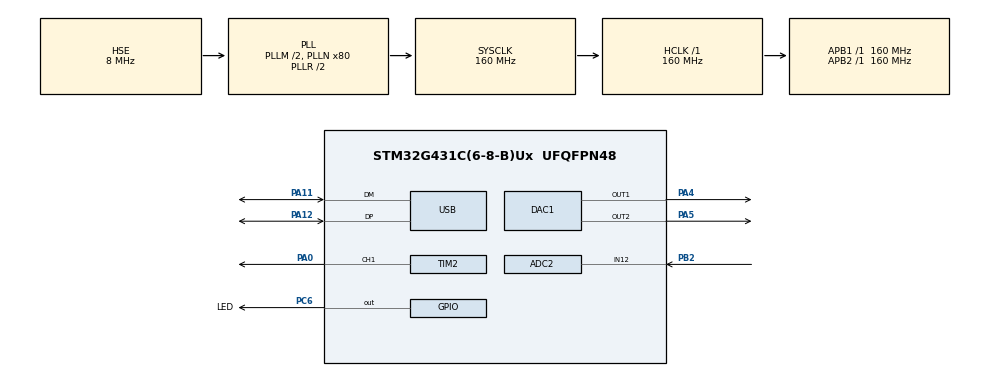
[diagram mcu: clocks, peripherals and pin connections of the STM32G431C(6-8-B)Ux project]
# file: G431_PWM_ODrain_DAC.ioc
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ADC2.Channel-0\#ChannelRegularConversion=ADC_CHANNEL_12
ADC2.ContinuousConvMode=ENABLE
ADC2.DMAContinuousRequests=ENABLE
ADC2.NbrOfConversionFlag=1
ADC2.OffsetNumber-0\#ChannelRegularConversion=ADC_OFFSET_NONE
ADC2.Rank-0\#ChannelRegularConversion=1
ADC2.SamplingTime-0\#ChannelRegularConversion=ADC_SAMPLETIME_640CYCLES_5
DAC1.DAC_Channel-DAC_OUT2=DAC_CHANNEL_2
DAC1.DAC_OutputBuffer-DAC_OUT1=DAC_OUTPUTBUFFER_DISABLE
DAC1.DAC_OutputBuffer-DAC_OUT2=DAC_OUTPUTBUFFER_DISABLE
DAC1.DAC_SampleAndHold-DAC_OUT2=DAC_SAMPLEANDHOLD_DISABLE
DAC1.DAC_Trigger_OUT1-DAC_OUT1=DAC_TRIGGER_T3_TRGO
DAC1.DAC_Trigger_OUT2-DAC_OUT2=DAC_TRIGGER_T3_TRGO
DAC1.WaveGeneration_OUT1-DAC_OUT1=DISABLE
DAC1.WaveGeneration_OUT2-DAC_OUT2=DISABLE
Dma.ADC2.0.Direction=DMA_PERIPH_TO_MEMORY
Dma.ADC2.0.EventEnable=DISABLE
Dma.ADC2.0.Instance=DMA1_Channel2
Dma.ADC2.0.MemDataAlignment=DMA_MDATAALIGN_HALFWORD
Dma.ADC2.0.MemInc=DMA_MINC_ENABLE
Dma.ADC2.0.Mode=DMA_CIRCULAR
Dma.ADC2.0.PeriphDataAlignment=DMA_PDATAALIGN_HALFWORD
Dma.ADC2.0.PeriphInc=DMA_PINC_DISABLE
Dma.ADC2.0.Polarity=HAL_DMAMUX_REQ_GEN_RISING
Dma.ADC2.0.Priority=DMA_PRIORITY_LOW
Dma.ADC2.0.RequestNumber=1
Dma.ADC2.0.SignalID=NONE
Dma.ADC2.0.SyncEnable=DISABLE
Dma.ADC2.0.SyncPolarity=HAL_DMAMUX_SYNC_NO_EVENT
Dma.ADC2.0.SyncRequestNumber=1
Dma.ADC2.0.SyncSignalID=NONE
Dma.DAC1_CH2.1.Direction=DMA_MEMORY_TO_PERIPH
Dma.DAC1_CH2.1.EventEnable=DISABLE
Dma.DAC1_CH2.1.Instance=DMA2_Channel1
Dma.DAC1_CH2.1.MemDataAlignment=DMA_MDATAALIGN_WORD
Dma.DAC1_CH2.1.MemInc=DMA_MINC_ENABLE
Dma.DAC1_CH2.1.Mode=DMA_NORMAL
Dma.DAC1_CH2.1.PeriphDataAlignment=DMA_PDATAALIGN_WORD
Dma.DAC1_CH2.1.PeriphInc=DMA_PINC_DISABLE
Dma.DAC1_CH2.1.Polarity=HAL_DMAMUX_REQ_GEN_RISING
Dma.DAC1_CH2.1.Priority=DMA_PRIORITY_HIGH
Dma.DAC1_CH2.1.RequestNumber=1
Dma.DAC1_CH2.1.SignalID=NONE
Dma.DAC1_CH2.1.SyncEnable=DISABLE
Dma.DAC1_CH2.1.SyncPolarity=HAL_DMAMUX_SYNC_NO_EVENT
Dma.DAC1_CH2.1.SyncRequestNumber=1
Dma.DAC1_CH2.1.SyncSignalID=NONE
Dma.Request0=ADC2
Dma.Request1=DAC1_CH2
FREERTOS.Tasks01=defaultTask,0,128,StartDefaultTask,Default,NULL,Dynamic,NULL,NULL
Mcu.Family=STM32G4
Mcu.Name=STM32G431C(6-8-B)Ux
Mcu.Package=UFQFPN48
NVIC.DMA1_Channel2_IRQn=true\:5\:0\:false\:false\:true\:true\:false\:true\:true
NVIC.DMA2_Channel1_IRQn=true\:0\:0\:false\:false\:true\:false\:false\:true\:true
NVIC.PriorityGroup=NVIC_PRIORITYGROUP_4
NVIC.TIM1_TRG_COM_TIM17_IRQn=true\:15\:0\:false\:false\:true\:false\:false\:true\:true
NVIC.TimeBase=TIM1_TRG_COM_TIM17_IRQn
NVIC.TimeBaseIP=TIM17
NVIC.USB_LP_IRQn=true\:5\:0\:false\:false\:true\:true\:false\:true\:true
PA0.GPIO_ModeDefaultPP=GPIO_MODE_AF_OD
PA0.GPIO_PuPd=GPIO_NOPULL
PA0.GPIO_Speed=GPIO_SPEED_FREQ_VERY_HIGH
PA0.Signal=S_TIM2_CH1
PA11.Mode=Device
PA11.Signal=USB_DM
PA12.Mode=Device
PA12.Signal=USB_DP
PA13.Mode=Serial_Wire
PA13.Signal=SYS_JTMS-SWDIO
PA14.Mode=Serial_Wire
PA14.Signal=SYS_JTCK-SWCLK
PA4.Signal=COMP_DAC11_group
PA5.Signal=COMP_DAC12_group
PB2.Mode=IN12-Single-Ended
PB2.Signal=ADC2_IN12
PC6.GPIO_Label=LED
PC6.GPIO_PuPd=GPIO_PULLDOWN
PC6.GPIO_Speed=GPIO_SPEED_FREQ_LOW
PC6.PinState=GPIO_PIN_RESET
PC6.Signal=GPIO_Output
PF0-OSC_IN.Mode=HSE-External-Oscillator
PF0-OSC_IN.Signal=RCC_OSC_IN
PF1-OSC_OUT.Mode=HSE-External-Oscillator
PF1-OSC_OUT.Signal=RCC_OSC_OUT
ProjectManager.HeapSize=0x100
ProjectManager.StackSize=0xA00
ProjectManager.TargetToolchain=MDK-ARM V5.32
RCC.ADC12Freq_Value=160000000
RCC.AHBFreq_Value=160000000
RCC.APB1Freq_Value=160000000
RCC.APB1TimFreq_Value=160000000
RCC.APB2Freq_Value=160000000
RCC.APB2TimFreq_Value=160000000
RCC.CK48CLockSelection=RCC_USBCLKSOURCE_HSI48
RCC.CortexFreq_Value=160000000
RCC.EXTERNAL_CLOCK_VALUE=12288000
RCC.HCLKFreq_Value=160000000
RCC.HSE_VALUE=8000000
RCC.HSI48_VALUE=48000000
RCC.HSI_VALUE=16000000
RCC.LSE_VALUE=32768
RCC.PLLM=RCC_PLLM_DIV2
RCC.PLLN=80
RCC.PLLSourceVirtual=RCC_PLLSOURCE_HSE
RCC.SYSCLKFreq_VALUE=160000000
RCC.SYSCLKSource=RCC_SYSCLKSOURCE_PLLCLK
RCC.USBFreq_Value=48000000
RCC.VCOOutputFreq_Value=320000000
SH.COMP_DAC11_group.0=DAC1_OUT1,DAC_OUT1
SH.COMP_DAC12_group.0=DAC1_OUT2,DAC_OUT2
SH.S_TIM2_CH1.0=TIM2_CH1,PWM Generation1 CH1
TIM2.AutoReloadPreload=TIM_AUTORELOAD_PRELOAD_ENABLE
TIM2.Channel-PWM\ Generation1\ CH1=TIM_CHANNEL_1
TIM2.PeriodNoDither=1
TIM2.Prescaler=1065
TIM3.AutoReloadPreload=TIM_AUTORELOAD_PRELOAD_ENABLE
TIM3.PeriodNoDither=1
TIM3.Prescaler=7
TIM3.TIM_MasterOutputTrigger=TIM_TRGO_UPDATE
USB_DEVICE.CLASS_NAME_FS=CDC
USB_DEVICE.VirtualMode=Cdc
USB_DEVICE.VirtualModeFS=Cdc_FS
VP_FREERTOS_VS_CMSIS_V1.Mode=CMSIS_V1
VP_SYS_VS_DBSignals.Mode=DisableDeadBatterySignals
VP_SYS_VS_tim17.Mode=TIM17
VP_TIM2_VS_ClockSourceINT.Mode=Internal
VP_TIM3_VS_ClockSourceINT.Mode=Internal
VP_USB_DEVICE_VS_USB_DEVICE_CDC_FS.Mode=CDC_FS
board=custom

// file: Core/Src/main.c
/* USER CODE BEGIN Header */
/**
  ******************************************************************************
  * @file           : main.c
  * @brief          : Main program body
  ******************************************************************************
  * @attention
  *
  * Copyright (c) 2025 STMicroelectronics.
  * All rights reserved.
  *
  * This software is licensed under terms that can be found in the LICENSE file
  * in the root directory of this software component.
  * If no LICENSE file comes with this software, it is provided AS-IS.
  *
  ******************************************************************************
  */
/* USER CODE END Header */
#include "main.h"
#include "cmsis_os.h"
#include "adc.h"
#include "dac.h"
#include "dma.h"
#include "tim.h"
#include "usb_device.h"
#include "gpio.h"

void SystemClock_Config(void);
void MX_FREERTOS_Init(void);

int main(void)
{

  /* MCU Configuration--------------------------------------------------------*/

  /* Reset of all peripherals, Initializes the Flash interface and the Systick. */
  HAL_Init();

  /* Configure the system clock */
  SystemClock_Config();

  /* Initialize all configured peripherals */
  MX_GPIO_Init();
  MX_DMA_Init();
  MX_USB_Device_Init();
  MX_ADC2_Init();
  MX_TIM2_Init();
  MX_DAC1_Init();
  MX_TIM3_Init();

  /* Call init function for freertos objects (in freertos.c) */
  MX_FREERTOS_Init();

  /* Start scheduler */
  osKernelStart();

  /* We should never get here as control is now taken by the scheduler */
  /* Infinite loop */
  while (1)
  {

  }
}

void SystemClock_Config(void)
{
  RCC_OscInitTypeDef RCC_OscInitStruct = {0};
  RCC_ClkInitTypeDef RCC_ClkInitStruct = {0};

  /** Configure the main internal regulator output voltage
  */
  HAL_PWREx_ControlVoltageScaling(PWR_REGULATOR_VOLTAGE_SCALE1_BOOST);

  /** Initializes the RCC Oscillators according to the specified parameters
  * in the RCC_OscInitTypeDef structure.
  */
  RCC_OscInitStruct.OscillatorType = RCC_OSCILLATORTYPE_HSI48|RCC_OSCILLATORTYPE_HSE;
  RCC_OscInitStruct.HSEState = RCC_HSE_ON;
  RCC_OscInitStruct.HSI48State = RCC_HSI48_ON;
  RCC_OscInitStruct.PLL.PLLState = RCC_PLL_ON;
  RCC_OscInitStruct.PLL.PLLSource = RCC_PLLSOURCE_HSE;
  RCC_OscInitStruct.PLL.PLLM = RCC_PLLM_DIV2;
  RCC_OscInitStruct.PLL.PLLN = 80;
  RCC_OscInitStruct.PLL.PLLP = RCC_PLLP_DIV2;
  RCC_OscInitStruct.PLL.PLLQ = RCC_PLLQ_DIV2;
  RCC_OscInitStruct.PLL.PLLR = RCC_PLLR_DIV2;
  if (HAL_RCC_OscConfig(&RCC_OscInitStruct) != HAL_OK)
  {
    Error_Handler();
  }

  /** Initializes the CPU, AHB and APB buses clocks
  */
  RCC_ClkInitStruct.ClockType = RCC_CLOCKTYPE_HCLK|RCC_CLOCKTYPE_SYSCLK
                              |RCC_CLOCKTYPE_PCLK1|RCC_CLOCKTYPE_PCLK2;
  RCC_ClkInitStruct.SYSCLKSource = RCC_SYSCLKSOURCE_PLLCLK;
  RCC_ClkInitStruct.AHBCLKDivider = RCC_SYSCLK_DIV1;
  RCC_ClkInitStruct.APB1CLKDivider = RCC_HCLK_DIV1;
  RCC_ClkInitStruct.APB2CLKDivider = RCC_HCLK_DIV1;

  if (HAL_RCC_ClockConfig(&RCC_ClkInitStruct, FLASH_LATENCY_4) != HAL_OK)
  {
    Error_Handler();
  }
}

void HAL_TIM_PeriodElapsedCallback(TIM_HandleTypeDef *htim)
{
  if (htim->Instance == TIM17) {
    HAL_IncTick();
  }
}

void Error_Handler(void)
{
  __disable_irq();
  while (1)
  {
  }
}

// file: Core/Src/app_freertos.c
/* USER CODE BEGIN Header */
/**
  ******************************************************************************
  * File Name          : app_freertos.c
  * Description        : Code for freertos applications
  ******************************************************************************
  * @attention
  *
  * Copyright (c) 2025 STMicroelectronics.
  * All rights reserved.
  *
  * This software is licensed under terms that can be found in the LICENSE file
  * in the root directory of this software component.
  * If no LICENSE file comes with this software, it is provided AS-IS.
  *
  ******************************************************************************
  */
/* USER CODE END Header */

#include "FreeRTOS.h"
#include "task.h"
#include "main.h"
#include "cmsis_os.h"

osThreadId defaultTaskHandle;

void StartDefaultTask(void const * argument);

void MX_FREERTOS_Init(void); /* (MISRA C 2004 rule 8.1) */

void MX_FREERTOS_Init(void) {

  /* Create the thread(s) */
  /* definition and creation of defaultTask */
  osThreadDef(defaultTask, StartDefaultTask, osPriorityNormal, 0, 128);
  defaultTaskHandle = osThreadCreate(osThread(defaultTask), NULL);

}

/* USER CODE BEGIN Header_StartDefaultTask */
/**
  * @brief  Function implementing the defaultTask thread.
  * @param  argument: Not used
  * @retval None
  */
//#define DAC1_BASE             0x40007400U
#define DAC_DHR12R1_OFFSET    0x08U

static inline void SetDAC1_CH1_Value(uint32_t Data)
{
    // 强制转换基地址为寄存器结构体指针
    DAC_TypeDef *DACx = (DAC_TypeDef *)DAC1_BASE;

    // 直接写入12位右对齐数据寄存器
    DACx->DHR12R1 = (Data & 0xFFF);  // 保留低12位
}

void Start_DAC_DMA_Optimized(DAC_HandleTypeDef *hdac, uint32_t Channel, uint32_t *pData, uint32_t Length)
{
    /* Check if the DAC handle is valid */
    if (hdac == NULL || pData == NULL || Length == 0)
    {
        return;
    }

    /* Get the DMA handle for the specified channel */
    DMA_HandleTypeDef *hdma = (Channel == DAC_CHANNEL_1) ? hdac->DMA_Handle1 : hdac->DMA_Handle2;

    /* Ensure the DMA is disabled before configuration */
    __HAL_DMA_DISABLE(hdma);

    /* Configure the DMA channel */
    hdma->Instance->CCR &= ~DMA_CCR_EN; /* Disable the DMA channel */

    /* Set the number of data items */
    hdma->Instance->CNDTR = Length;

    /* Set the peripheral address */
    if (Channel == DAC_CHANNEL_1)
    {
        hdma->Instance->CPAR = (uint32_t)&hdac->Instance->DHR12R1;
    }
    else
    {
        hdma->Instance->CPAR = (uint32_t)&hdac->Instance->DHR12R2;
    }

    /* Set the memory address */
    hdma->Instance->CMAR = (uint32_t)pData;

    /* Configure DMA for memory increment (NO circular mode) */
    hdma->Instance->CCR |= DMA_CCR_MINC;  // 仅保留内存递增
    hdma->Instance->CCR &= ~DMA_CCR_CIRC; // 确保关闭循环模式

    /* Set peripheral to memory direction */
    hdma->Instance->CCR |= DMA_CCR_DIR;

    /* Enable the DMA channel */
    __HAL_DMA_ENABLE(hdma);

    /* Enable the DAC DMA request */
    if (Channel == DAC_CHANNEL_1)
    {
        hdac->Instance->CR |= DAC_CR_DMAEN1;
    }
    else
    {
        hdac->Instance->CR |= DAC_CR_DMAEN2;
    }

    /* Enable DAC DMA underrun interrupt */
    if (Channel == DAC_CHANNEL_1)
    {
        __HAL_DAC_ENABLE_IT(hdac, DAC_IT_DMAUDR1);
    }
    else
    {
        __HAL_DAC_ENABLE_IT(hdac, DAC_IT_DMAUDR2);
    }

    /* Start the DAC */
    if (Channel == DAC_CHANNEL_1)
    {
        hdac->Instance->CR |= DAC_CR_EN1;
    }
    else
    {
        hdac->Instance->CR |= DAC_CR_EN2;
    }
}

uint16_t adc_value[10];

//400真实长度，剩下100全是0
uint32_t arr1[500] = {
0,10,21,31,41,51,62,72,82,92,103,113,123,133,144,154,164,174,185,195,205,216,226,236,246,257,267,277,287,298,308,318,328,339,349,359,369,380,390,400,411,421,431,441,452,462,472,482,493,503,513,523,534,544,554,564,575,585,595,606,616,626,636,647,657,667,677,688,698,708,718,729,739,749,759,770,780,790,801,811,821,831,842,852,862,872,883,893,903,913,924,934,944,954,965,975,985,996,1006,1016,1026,1037,1047,1057,1067,1078,1088,1098,1108,1119,1129,1139,1149,1160,1170,1180,1191,1201,1211,1221,1232,1242,1252,1262,1273,1283,1293,1303,1314,1324,1334,1344,1355,1365,1375,1386,1396,1406,1416,1427,1437,1447,1457,1468,1478,1488,1498,1509,1519,1529,1539,1550,1560,1570,1581,1591,1601,1611,1622,1632,1642,1652,1663,1673,1683,1693,1704,1714,1724,1734,1745,1755,1765,1776,1786,1796,1806,1817,1827,1837,1847,1858,1868,1878,1888,1899,1909,1919,1929,1940,1950,1960,1971,1981,1991,2001,2012,2022,2032,2042,2053,2063,2073,2083,2094,2104,2114,2124,2135,2145,2155,2166,2176,2186,2196,2207,2217,2227,2237,2248,2258,2268,2278,2289,2299,2309,2319,2330,2340,2350,2361,2371,2381,2391,2402,2412,2422,2432,2443,2453,2463,2473,2484,2494,2504,2514,2525,2535,2545,2556,2566,2576,2586,2597,2607,2617,2627,2638,2648,2658,2668,2679,2689,2699,2709,2720,2730,2740,2751,2761,2771,2781,2792,2802,2812,2822,2833,2843,2853,2863,2874,2884,2894,2904,2915,2925,2935,2946,2956,2966,2976,2987,2997,3007,3017,3028,3038,3048,3058,3069,3079,3089,3099,3110,3120,3130,3141,3151,3161,3171,3182,3192,3202,3212,3223,3233,3243,3253,3264,3274,3284,3294,3305,3315,3325,3336,3346,3356,3366,3377,3387,3397,3407,3418,3428,3438,3448,3459,3469,3479,3489,3500,3510,3520,3531,3541,3551,3561,3572,3582,3592,3602,3613,3623,3633,3643,3654,3664,3674,3684,3695,3705,3715,3726,3736,3746,3756,3767,3777,3787,3797,3808,3818,3828,3838,3849,3859,3869,3879,3890,3900,3910,3921,3931,3941,3951,3962,3972,3982,3992,4003,4013,4023,4033,4044,4054,4064,4074,4085,4095
};//均匀
uint32_t arr2[500] = {
0,1,2,3,4,5,6,7,8,9,10,11,12,13,14,15,16,17,18,19,20,21,22,23,24,25,26,27,28,29,30,31,32,33,34,35,36,37,38,39,41,43,45,48,50,52,54,57,59,62,64,67,70,72,75,78,81,84,87,90,93,96,99,102,105,109,112,115,119,122,126,130,133,137,141,145,149,153,156,161,165,169,173,177,181,186,190,195,199,204,208,213,218,222,227,232,237,242,247,252,257,262,268,273,278,284,289,294,300,306,311,317,323,328,334,340,346,352,358,364,370,377,383,389,396,402,408,415,421,428,435,441,448,455,462,469,476,483,490,497,504,511,519,526,533,541,548,556,563,571,579,586,594,602,610,618,626,634,642,650,658,667,675,683,692,700,709,717,726,735,743,752,761,770,779,788,797,806,815,824,833,843,852,861,871,880,890,899,909,919,929,938,948,958,968,978,988,998,1008,1019,1029,1039,1050,1060,1070,1081,1092,1102,1113,1124,1134,1145,1156,1167,1178,1189,1200,1211,1222,1234,1245,1256,1268,1279,1291,1302,1314,1325,1337,1349,1361,1373,1384,1396,1408,1421,1433,1445,1457,1469,1482,1494,1506,1519,1531,1544,1557,1569,1582,1595,1608,1621,1633,1646,1659,1673,1686,1699,1712,1725,1739,1752,1766,1779,1793,1806,1820,1834,1847,1861,1875,1889,1903,1917,1931,1945,1959,1974,1988,2002,2017,2031,2046,2060,2075,2089,2104,2119,2134,2148,2163,2178,2193,2208,2223,2238,2254,2269,2284,2300,2315,2330,2346,2362,2377,2393,2409,2424,2440,2456,2472,2488,2504,2520,2536,2552,2569,2585,2601,2618,2634,2650,2667,2684,2700,2717,2734,2750,2767,2784,2801,2818,2835,2852,2869,2887,2904,2921,2939,2956,2973,2991,3009,3026,3044,3062,3079,3097,3115,3133,3151,3169,3187,3205,3223,3242,3260,3278,3297,3315,3334,3352,3371,3389,3408,3427,3446,3464,3483,3502,3521,3540,3560,3579,3598,3617,3637,3656,3675,3695,3714,3734,3753,3773,3793,3813,3833,3852,3872,3892,3912,3932,3953,3973,3993,4013,4034,4054,4074,4095
};//下凹
uint32_t arr3[500] = {
0,21,41,61,82,102,122,142,163,183,203,223,243,262,282,302,322,342,361,381,400,420,439,458,478,497,516,535,555,574,593,612,631,649,668,687,706,724,743,761,780,798,817,835,853,872,890,908,926,944,962,980,998,1016,1033,1051,1069,1086,1104,1122,1139,1156,1174,1191,1208,1226,1243,1260,1277,1294,1311,1328,1345,1361,1378,1395,1411,1428,1445,1461,1477,1494,1510,1526,1543,1559,1575,1591,1607,1623,1639,1655,1671,1686,1702,1718,1733,1749,1765,1780,1795,1811,1826,1841,1857,1872,1887,1902,1917,1932,1947,1961,1976,1991,2006,2020,2035,2049,2064,2078,2093,2107,2121,2136,2150,2164,2178,2192,2206,2220,2234,2248,2261,2275,2289,2302,2316,2329,2343,2356,2370,2383,2396,2409,2422,2436,2449,2462,2474,2487,2500,2513,2526,2538,2551,2564,2576,2589,2601,2613,2626,2638,2650,2662,2674,2687,2699,2711,2722,2734,2746,2758,2770,2781,2793,2804,2816,2827,2839,2850,2861,2873,2884,2895,2906,2917,2928,2939,2950,2961,2971,2982,2993,3003,3014,3025,3035,3045,3056,3066,3076,3087,3097,3107,3117,3127,3137,3147,3157,3166,3176,3186,3196,3205,3215,3224,3234,3243,3252,3262,3271,3280,3289,3298,3307,3316,3325,3334,3343,3352,3360,3369,3378,3386,3395,3403,3412,3420,3428,3437,3445,3453,3461,3469,3477,3485,3493,3501,3509,3516,3524,3532,3539,3547,3554,3562,3569,3576,3584,3591,3598,3605,3612,3619,3626,3633,3640,3647,3654,3660,3667,3674,3680,3687,3693,3699,3706,3712,3718,3725,3731,3737,3743,3749,3755,3761,3767,3772,3778,3784,3789,3795,3801,3806,3811,3817,3822,3827,3833,3838,3843,3848,3853,3858,3863,3868,3873,3877,3882,3887,3891,3896,3900,3905,3909,3914,3918,3922,3926,3930,3934,3939,3942,3946,3950,3954,3958,3962,3965,3969,3973,3976,3980,3983,3986,3990,3993,3996,3999,4002,4005,4008,4011,4014,4017,4020,4023,4025,4028,4031,4033,4036,4038,4041,4043,4045,4047,4050,4052,4054,4056,4058,4060,4062,4063,4065,4067,4069,4070,4072,4073,4075,4076,4078,4079,4080,4081,4083,4084,4085,4086,4087,4088,4089,4090,4091,4092,4093,4094,4095,4096,4097,4098,4099,4100,4101,4102,4103,4104,4095
};//上凸

/* USER CODE END Header_StartDefaultTask */
void StartDefaultTask(void const * argument)
{
  /* USER CODE BEGIN StartDefaultTask */
	char usb_buff[128]={0};
	__HAL_TIM_SET_COMPARE(&htim2,TIM_CHANNEL_1,1);
	HAL_TIM_PWM_Start(&htim2,TIM_CHANNEL_1);
	HAL_ADC_Start_DMA(&hadc2, (uint32_t *)adc_value, 10);

	HAL_TIM_Base_Start(&htim3);//DAC必须开启定时器事件触发
	HAL_DAC_Start(&hdac1, DAC_CHANNEL_1);
	HAL_DAC_Start(&hdac1, DAC_CHANNEL_2);
	osDelay(500);
  /* Infinite loop */
	for(;;)
	{

		HAL_GPIO_TogglePin(LED_GPIO_Port,LED_Pin);
		sprintf(usb_buff,"PB2 adc_value:%d\r\n",adc_value[0]);
		CDC_Transmit_FS((uint8_t *)usb_buff,strlen(usb_buff));
		SetDAC1_CH1_Value(0);
		osDelay(1);
		SetDAC1_CH1_Value(4095);//高电平时间代表函数运行时间
//		HAL_DAC_Start_DMA(&hdac1, DAC_CHANNEL_2, (uint32_t*)arr1, 500, DAC_ALIGN_12B_R);//DMA要配置成WORD  DAC极限频率15MHz
		Start_DAC_DMA_Optimized(&hdac1, DAC_CHANNEL_2, (uint32_t*)arr1, 500);
		SetDAC1_CH1_Value(0);
		osDelay(1);
	}
  /* USER CODE END StartDefaultTask */
}
